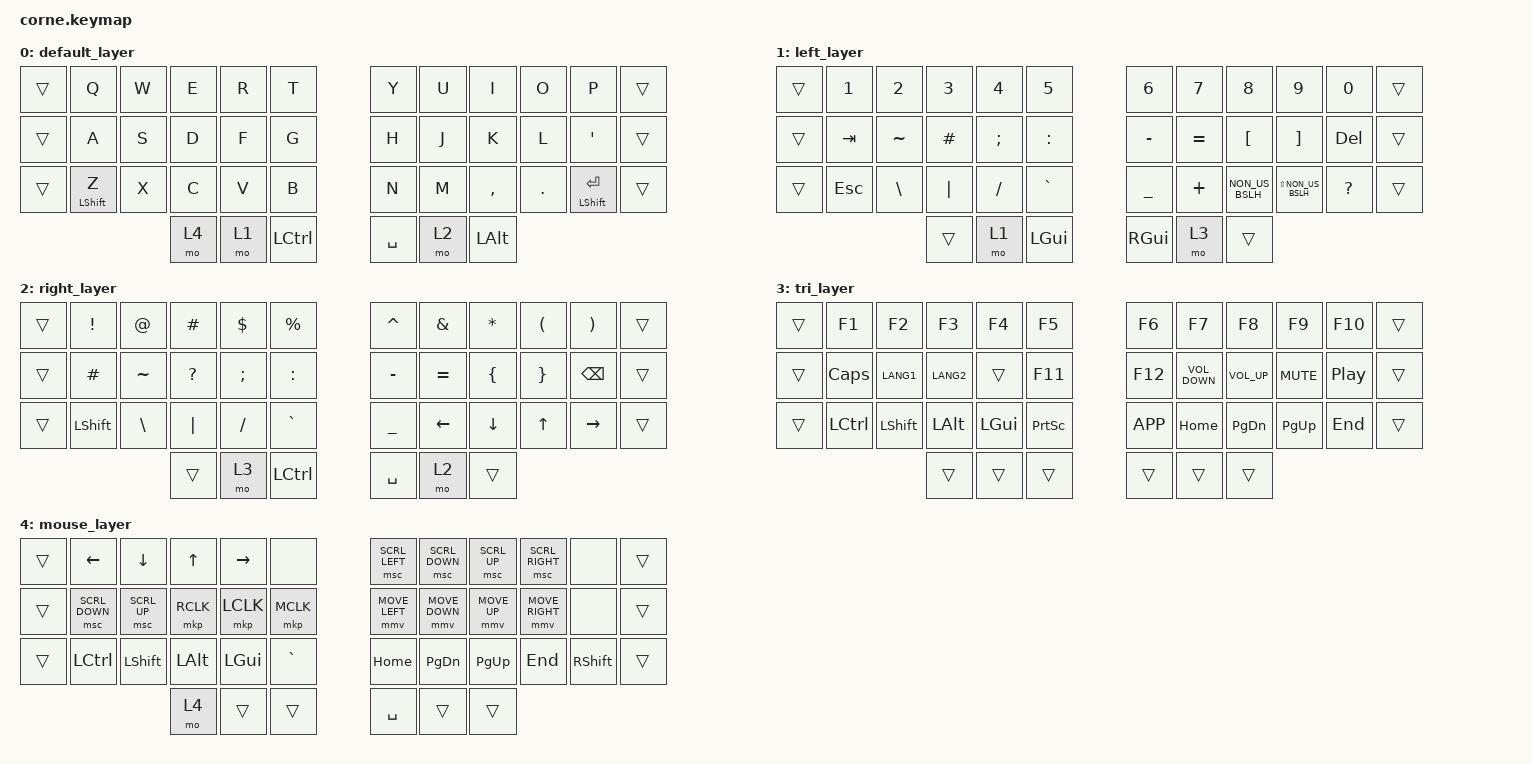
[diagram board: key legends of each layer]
/*
 * Copyright (c) 2020 The ZMK Contributors
 *
 * SPDX-License-Identifier: MIT
 */

#define ZMK_POINTING_DEFAULT_MOVE_VAL 1000  // default: 600
#define ZMK_POINTING_DEFAULT_SCRL_VAL 20    // default: 10

#include <behaviors.dtsi>
#include <dt-bindings/zmk/keys.h>
#include <dt-bindings/zmk/bt.h>
#include <dt-bindings/zmk/pointing.h>

/ {
        combos {
                compatible = "zmk,combos";

                combo_tab {
                        timeout-ms = <50>;
                        key-positions = <13 14>;
                        bindings = <&kp TAB>;
                };
        };


        keymap {
                compatible = "zmk,keymap";

                default_layer {
                        bindings = <
                          &trans  &kp Q         &kp W  &kp E  &kp R  &kp T        &kp Y  &kp U  &kp I      &kp O    &kp P           &trans
                          &trans  &kp A         &kp S  &kp D  &kp F  &kp G        &kp H  &kp J  &kp K      &kp L    &kp SQT         &trans
                          &trans  &mt LSHIFT Z  &kp X  &kp C  &kp V  &kp B        &kp N  &kp M  &kp COMMA  &kp DOT  &mt LSHIFT RET  &trans
                                               &mo 4    &mo 1    &kp LCTRL        &kp SPACE    &mo 2    &kp LALT
                        >;
                };

                left_layer {
                        bindings = <
                 &trans  &kp N1   &kp N2     &kp N3    &kp N4    &kp N5           &kp N6     &kp N7     &kp N8           &kp N9               &kp N0     &trans
                 &trans  &kp TAB  &kp TILDE  &kp HASH  &kp SEMI  &kp COLON        &kp MINUS  &kp EQUAL  &kp LBKT         &kp RBKT             &kp DEL    &trans
                 &trans  &kp ESC  &kp BSLH   &kp PIPE  &kp FSLH  &kp GRAVE        &kp UNDER  &kp PLUS   &kp NON_US_BSLH  &kp LS(NON_US_BSLH)  &kp QMARK  &trans
                                               &trans    &mo 1    &kp LGUI        &kp RGUI    &mo 3    &trans
                        >;
                };

                right_layer {
                        bindings = <
             &trans  &kp EXCL    &kp AT     &kp HASH   &kp DLLR  &kp PRCNT        &kp CARET  &kp AMPS   &kp STAR  &kp LPAR   &kp RPAR   &trans
             &trans  &kp HASH    &kp TILDE  &kp QMARK  &kp SEMI  &kp COLON        &kp MINUS  &kp EQUAL  &kp LBRC  &kp RBRC   &kp BSPC   &trans
             &trans  &kp LSHIFT  &kp BSLH   &kp PIPE   &kp FSLH  &kp GRAVE        &kp UNDER  &kp LEFT   &kp DOWN  &kp UP     &kp RIGHT  &trans
                                              &trans    &mo 3    &kp LCTRL        &kp SPACE    &mo 2    &trans
                        >;
                };

                tri_layer {
                        bindings = <
&trans  &kp F1        &kp F2      &kp F3     &kp F4    &kp F5                 &kp F6     &kp F7             &kp F8        &kp F9      &kp F10           &trans
&trans  &kp CAPSLOCK  &kp LANG1   &kp LANG2  &trans    &kp F11                &kp F12    &kp C_VOLUME_DOWN  &kp C_VOL_UP  &kp C_MUTE  &kp C_PLAY_PAUSE  &trans
&trans  &kp LCTRL     &kp LSHIFT  &kp LALT   &kp LGUI  &kp PRINTSCREEN        &kp K_APP  &kp HOME           &kp PG_DN     &kp PG_UP   &kp END           &trans
                                            &trans    &trans    &trans        &trans    &trans    &trans
                        >;
                };

                mouse_layer {
                        bindings = <
                  &trans  &kp LEFT        &kp DOWN      &kp UP     &kp RIGHT  &none            &msc SCRL_LEFT  &msc SCRL_DOWN  &msc SCRL_UP  &msc SCRL_RIGHT  &none       &trans
                  &trans  &msc SCRL_DOWN  &msc SCRL_UP  &mkp RCLK  &mkp LCLK  &mkp MCLK        &mmv MOVE_LEFT  &mmv MOVE_DOWN  &mmv MOVE_UP  &mmv MOVE_RIGHT  &none       &trans
                  &trans  &kp LCTRL       &kp LSHIFT    &kp LALT   &kp LGUI   &kp GRAVE        &kp HOME        &kp PG_DN       &kp PG_UP     &kp END          &kp RSHIFT  &trans
                                                              &mo 4    &trans    &trans        &kp SPACE    &trans    &trans
                        >;
                };
        };
};
